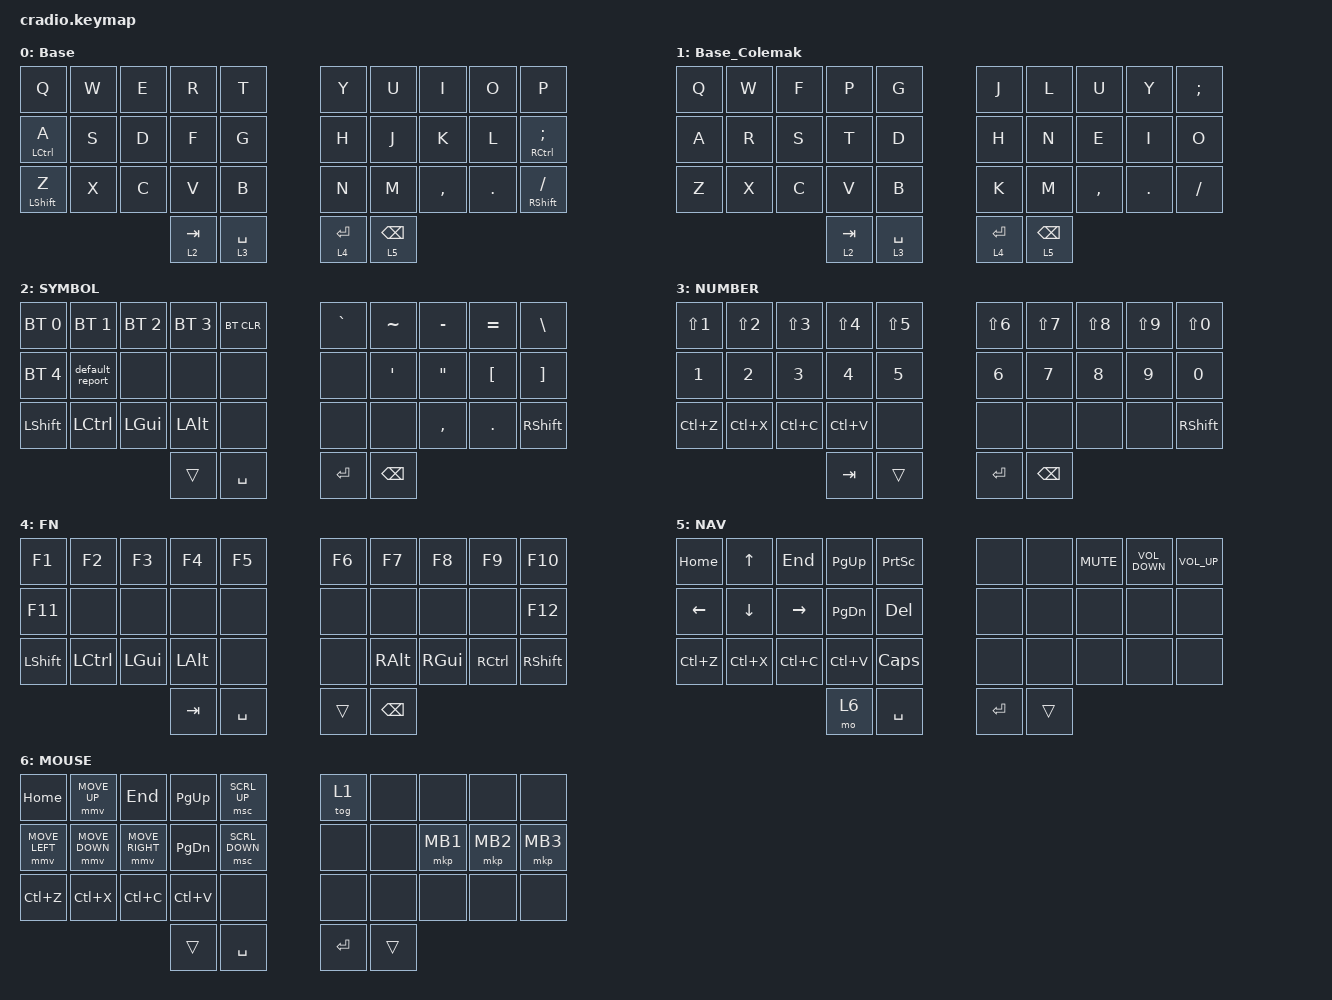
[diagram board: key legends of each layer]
// Copyright (c) 2022 The ZMK Contributors
// SPDX-License-Identifier: MIT
#define ZMK_POINTING_DEFAULT_MOVE_VAL 2500  // 600
#define ZMK_POINTING_DEFAULT_SCRL_VAL 25   // 10
#define ZMK_MOUSE_DEFAULT_MOVE_VAL 2500
#define ZMK_MOUSE_DEFAULT_SCRL_VAL 25    // 10

#include <dt-bindings/zmk/mouse.h>
#include <behaviors.dtsi>
#include <dt-bindings/zmk/bt.h>
#include <dt-bindings/zmk/keys.h>
#include <dt-bindings/zmk/pointing.h>

/ {
    chosen { zmk,charmap = &charmap_us; };

    behaviors {
        hml: home_row_mod_left {
            compatible = "zmk,behavior-hold-tap";
            flavor = "balanced";
            require-prior-idle-ms = <150>;
            tapping-term-ms = <280>;
            quick-tap-ms = <175>;
            #binding-cells = <2>;
            bindings = <&kp>, <&kp>;
        };

        hmr: home_row_mod_right {
            compatible = "zmk,behavior-hold-tap";
            flavor = "balanced";
            require-prior-idle-ms = <150>;
            tapping-term-ms = <280>;
            quick-tap-ms = <175>;
            #binding-cells = <2>;
            bindings = <&kp>, <&kp>;
        };

        ht: hold_tap {
            label = "hold_tap";
            compatible = "zmk,behavior-hold-tap";
            flavor = "balanced";
            tapping-term-ms = <180>;
            quick-tap-ms = <150>;
            global-quick-tap;
            #binding-cells = <2>;
            bindings = <&kp>, <&kp>;
        };

        mmv {
            acceleration-exponent = <1>;      // 1
            time-to-max-speed-ms = <1500>;    // 40
            delay-ms = <0>;                   // 0
        };

        msc {
            acceleration-exponent = <0>;      // 0
            time-to-max-speed-ms = <40>;      // 500
            delay-ms = <0>;                   // 10
        };
    };

    conditional_layers { compatible = "zmk,conditional-layers"; };

    combos {
        compatible = "zmk,combos";

        esc1 {
            bindings = <&kp ESCAPE>;
            key-positions = <1 2>;
        };

        bkk {
            bindings = <&kp BACKSPACE>;
            key-positions = <16 17>;
        };

        ctrll {
            bindings = <&kp LCTRL>;
            key-positions = <>;
        };

        ctrjr {
            bindings = <&kp RCTRL>;
            key-positions = <>;
        };

        altl {
            bindings = <&kp LEFT_ALT>;
            key-positions = <21 22>;
        };

        altr {
            bindings = <&kp RIGHT_ALT>;
            key-positions = <27 28>;
        };

        shiftl {
            bindings = <&kp LEFT_SHIFT>;
            key-positions = <>;
        };

        shiftr {
            bindings = <&kp RIGHT_SHIFT>;
            key-positions = <>;
        };

        guil {
            bindings = <&kp LEFT_GUI>;
            key-positions = <11 12>;
        };

        guir {
            bindings = <&kp RIGHT_GUI>;
            key-positions = <17 18>;
        };

        delc {
            bindings = <&kp DELETE>;
            key-positions = <7 8>;
        };
    };

    keymap {
        compatible = "zmk,keymap";

        Base {
            bindings = <
&kp Q              &kp W  &kp E  &kp R      &kp T          &kp Y        &kp U            &kp I      &kp O    &kp P
&hml LCTRL A       &kp S  &kp D  &kp F      &kp G          &kp H        &kp J            &kp K      &kp L    &hmr RCTRL SEMICOLON
&hml LEFT_SHIFT Z  &kp X  &kp C  &kp V      &kp B          &kp N        &kp M            &kp COMMA  &kp DOT  &hmr RIGHT_SHIFT SLASH
                                 &lt 2 TAB  &lt 3 SPACE    &lt 4 ENTER  &lt 5 BACKSPACE
            >;
        };

        Base_Colemak {
            bindings = <
&kp Q  &kp W  &kp F  &kp P      &kp G          &kp J        &kp L            &kp U      &kp Y    &kp SEMI
&kp A  &kp R  &kp S  &kp T      &kp D          &kp H        &kp N            &kp E      &kp I    &kp O
&kp Z  &kp X  &kp C  &kp V      &kp B          &kp K        &kp M            &kp COMMA  &kp DOT  &kp FSLH
                     &lt 2 TAB  &lt 3 SPACE    &lt 4 ENTER  &lt 5 BACKSPACE
            >;
        };

        SYMBOL {
            bindings = <
&bt BT_SEL 0  &bt BT_SEL 1     &bt BT_SEL 2  &bt BT_SEL 3  &bt BT_CLR    &kp GRAVE  &kp TILDE         &kp MINUS          &kp EQUAL  &kp BSLH
&bt BT_SEL 4  &default_report  &none         &none         &none         &none      &kp SINGLE_QUOTE  &kp DOUBLE_QUOTES  &kp LBKT   &kp RBKT
&kp LSHFT     &kp LCTRL        &kp LEFT_GUI  &kp LEFT_ALT  &none         &none      &none             &kp COMMA          &kp DOT    &kp RSHFT
                                             &trans        &kp SPACE     &kp ENTER  &kp BSPC
            >;
        };

        NUMBER {
            bindings = <
&kp LS(N1)  &kp LS(N2)  &kp LS(N3)  &kp LS(N4)  &kp LS(N5)    &kp LS(N6)  &kp LS(N7)  &kp LS(N8)  &kp LS(N9)  &kp LS(N0)
&kp N1      &kp N2      &kp N3      &kp N4      &kp N5        &kp N6      &kp N7      &kp N8      &kp N9      &kp N0
&kp LC(Z)   &kp LC(X)   &kp LC(C)   &kp LC(V)   &none         &none       &none       &none       &none       &kp RSHFT
                                    &kp TAB     &trans        &kp ENTER   &kp BSPC
            >;
        };

        FN {
            bindings = <
&kp F1     &kp F2     &kp F3    &kp F4    &kp F5       &kp F6  &kp F7    &kp F8    &kp F9     &kp F10
&kp F11    &none      &none     &none     &none        &none   &none     &none     &none      &kp F12
&kp LSHFT  &kp LCTRL  &kp LGUI  &kp LALT  &none        &none   &kp RALT  &kp RGUI  &kp RCTRL  &kp RSHFT
                                &kp TAB   &kp SPACE    &trans  &kp BSPC
            >;
        };

        NAV {
            bindings = <
&kp HOME   &kp UP     &kp END    &kp PG_UP  &kp PRINTSCREEN    &none      &none   &kp K_MUTE  &kp C_VOLUME_DOWN  &kp C_VOLUME_UP
&kp LEFT   &kp DOWN   &kp RIGHT  &kp PG_DN  &kp DELETE         &none      &none   &none       &none              &none
&kp LC(Z)  &kp LC(X)  &kp LC(C)  &kp LC(V)  &kp CAPS           &none      &none   &none       &none              &none
                                 &mo 6      &kp SPACE          &kp ENTER  &trans
            >;
        };

        MOUSE {
            bindings = <
&kp HOME        &mmv MOVE_UP    &kp END          &kp PG_UP  &msc SCRL_UP      &tog 1     &none   &none     &none     &none
&mmv MOVE_LEFT  &mmv MOVE_DOWN  &mmv MOVE_RIGHT  &kp PG_DN  &msc SCRL_DOWN    &none      &none   &mkp MB1  &mkp MB2  &mkp MB3
&kp LC(Z)       &kp LC(X)       &kp LC(C)        &kp LC(V)  &none             &none      &none   &none     &none     &none
                                                 &trans     &kp SPACE         &kp ENTER  &trans
            >;
        };
    };
};
